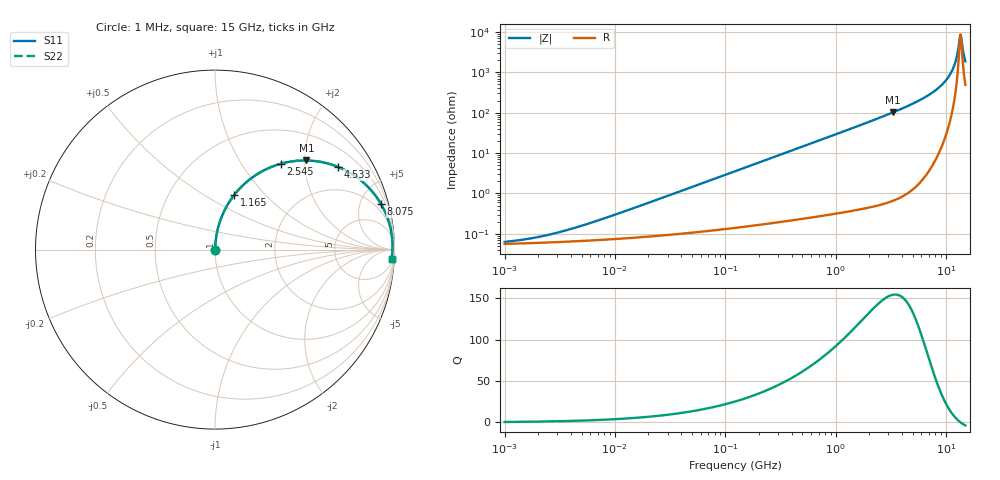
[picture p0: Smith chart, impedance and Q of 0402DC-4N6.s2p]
# MHz  S  MA  R  50
!Freq  MagS11  AngS11  MagS21  AngS21  MagS12  AngS12  MagS22  AngS22
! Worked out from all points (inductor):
!   801 points, 1 MHz to 15 GHz, reference 50 ohm
!   read as one part in series: L = 4.6 nH near 7.364 MHz
!   highest Q = 154 at 3.316 GHz (marker M1), where L = 4.89 nH
!   self-resonance near 13.54 GHz
!   S11 on the Smith chart (normalised r, x): 1 MHz: 1.00, +0.00; 1.165 GHz: 1.01, +0.68; 2.545 GHz: 1.01, +1.52; 4.533 GHz: 1.02, +2.95; 8.075 GHz: 1.14, +7.23; 15 GHz: 11, -36
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1  0.0006329 27.1  0.9994 -0.0  0.9994 -0.0  0.0006329 27.1
2.185358  0.000873 46.3  0.9994 -0.0  0.9994 -0.0  0.000873 46.3
5.011168  0.001593 65.2  0.9993 -0.1  0.9993 -0.1  0.001593 65.2
24.81158  0.00722 82.5  0.9991 -0.4  0.9991 -0.4  0.00722 82.5
122.8485  0.03547 85.7  0.998 -2.0  0.998 -2.0  0.03547 85.7
299.1599  0.08604 83.8  0.9944 -4.9  0.9944 -4.9  0.08604 83.8
608.2547  0.1731 79.2  0.9824 -10.0  0.9824 -10.0  0.1731 79.2
1164.529  0.3202 70.8  0.9442 -18.7  0.9442 -18.7  0.3202 70.8
1731.902  0.4521 62.7  0.8883 -26.9  0.8883 -26.9  0.4521 62.7
2544.913  0.6043 52.4  0.7926 -37.2  0.7926 -37.2  0.6043 52.4
3048.066  0.678 46.9  0.7306 -42.7  0.7306 -42.7  0.678 46.9
3315.8  0.7116 44.3  0.698 -45.4  0.698 -45.4  0.7116 44.3
4533.122  0.8251 34.0  0.5593 -55.6  0.5593 -55.6  0.8251 34.0
6272.344  0.9141 23.3  0.3962 -66.1  0.3962 -66.1  0.9141 23.3
8074.614  0.9591 15.4  0.2651 -73.5  0.2651 -73.5  0.9591 15.4
9788.059  0.9796 9.5  0.1658 -78.2  0.1658 -78.2  0.9796 9.5
11172.6  0.987 5.6  0.09839 -79.6  0.09839 -79.6  0.987 5.6
12153.97  0.989 3.2  0.0561 -77.1  0.0561 -77.1  0.989 3.2
13063.48  0.9891 1.1  0.02166 -59.3  0.02166 -59.3  0.9891 1.1
13381.53  0.9888 0.4  0.01303 -30.5  0.01303 -30.5  0.9888 0.4
13873.18  0.988 -0.7  0.01654 43.2  0.01654 43.2  0.988 -0.7
15000  0.985 -2.9  0.0525 71.9  0.0525 71.9  0.985 -2.9
